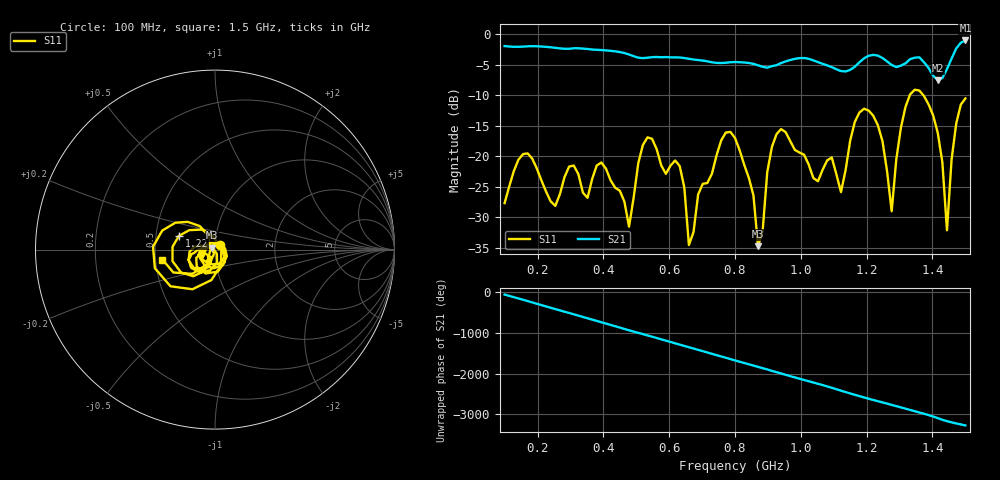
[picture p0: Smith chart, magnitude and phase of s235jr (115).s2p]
! NanoVNA-App
! Date: 2025-09-26 09:45:41
! Start: 100MHz Stop: 1,5GHz Points: 101
! S-Parameter data: F S11 S21 S12 S22
# Hz S RI R 50
!  Frequency  S11_Real  S11_Imag  S21_Real  S21_Imag  S12_Real  S12_Imag  S22_Real  S22_Imag
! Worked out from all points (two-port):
!   101 points, 100 MHz to 1.5 GHz, reference 50 ohm
!   highest |S21| = -1.04 dB at 1.5 GHz (marker M1); lowest = -7.5 dB at 1.416 GHz (marker M2)
!   |S21| within 3 dB of the highest: start of sweep to 660.1 MHz; 1.19 GHz to 1.251 GHz (60.84 MHz wide, 4.98 % of centre)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
!   lowest |S11| = -34.7 dB at 870 MHz (marker M3), VSWR 1.04, Z = 48.5 + j1.02 ohm
!   |S11| at or under -10 dB: start of sweep to 1.331 GHz; 1.372 GHz to end of sweep
!   S12 and S22 are empty: the file has one direction only
!   S11 on the Smith chart (normalised r, x): 100 MHz: 1.06, +0.06; 1.22 GHz: 0.66, +0.11; 1.5 GHz: 0.54, -0.07
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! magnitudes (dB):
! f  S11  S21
! 100 MHz  -27.6  -2.0
! 170 MHz  -19.5  -2.0
! 338 MHz  -25.9  -2.4
! 394 MHz  -21.0  -2.6
! 478 MHz  -31.5  -3.3
! 520 MHz  -18.2  -3.9
! 576 MHz  -21.5  -3.8
! 632 MHz  -21.6  -3.8
! 660 MHz  -34.5  -4.0
! 800 MHz  -17.0  -4.6
! 870 MHz  -34.7  -5.1
! 926 MHz  -16.4  -5.1
! 1.038 GHz  -23.5  -4.3
! 1.122 GHz  -25.8  -6.0
! 1.164 GHz  -14.4  -5.3
! 1.22 GHz  -13.3  -3.4
! 1.276 GHz  -29.0  -5.1
! 1.332 GHz  -9.9  -4.1
! 1.416 GHz  -16.1  -7.5
! 1.444 GHz  -32.1  -5.7
! 1.472 GHz  -14.7  -2.4
! 1.5 GHz  -10.5  -1.0
